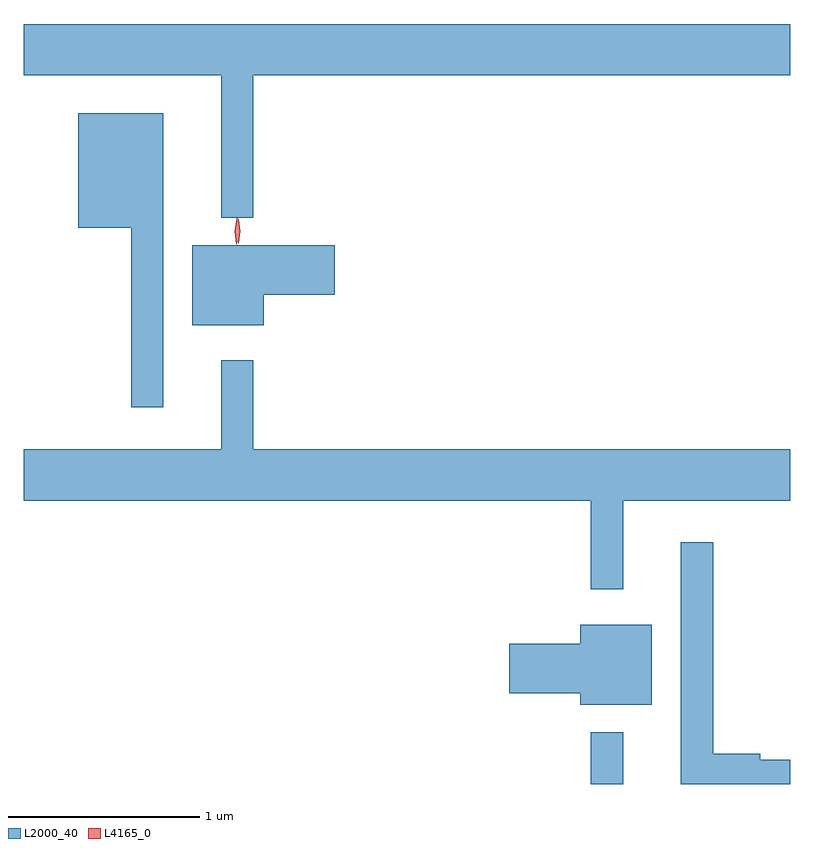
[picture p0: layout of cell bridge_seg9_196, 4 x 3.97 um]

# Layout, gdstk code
import gdstk
lib = gdstk.Library(unit=1e-6, precision=1e-09)
def R(c, l, rs):  # rectangles x0, y0, x1, y1
    for r in rs: c.add(gdstk.rectangle(r[:2], r[2:], *l))
def P(c, l, *ps):  # polygons
    for p in ps: c.add(gdstk.Polygon(p, *l))
L2000_40 = (2000, 40)
L4165_0 = (4165, 0)

bridge_seg9_196 = lib.new_cell('bridge_seg9_196')
R(bridge_seg9_196, L2000_40, [(1183.641,1981.457,1183.809,1981.728)])
P(bridge_seg9_196, L2000_40, [(1181.879,1985.156),(1184.681,1985.156),(1184.681,1985.424),(1180.681,1985.424),(1180.681,1985.156),(1181.711,1985.156),(1181.711,1984.413),(1181.879,1984.413)],
  [(1181.409,1984.959),(1180.966,1984.959),(1180.966,1984.361),(1181.241,1984.361),(1181.241,1983.423),(1181.409,1983.423)],
  [(1181.934,1984.011),(1182.304,1984.011),(1182.304,1984.269),(1181.561,1984.269),(1181.561,1983.851),(1181.934,1983.851)],
  [(1183.809,1982.936),(1184.681,1982.936),(1184.681,1983.204),(1181.879,1983.204),(1181.879,1983.668),(1181.711,1983.668),(1181.711,1983.204),(1180.681,1983.204),(1180.681,1982.936),(1183.641,1982.936),(1183.641,1982.473),(1183.809,1982.473)],
  [(1184.681,1981.584),(1184.524,1981.584),(1184.524,1981.614),(1184.279,1981.614),(1184.279,1982.718),(1184.111,1982.718),(1184.111,1981.457),(1184.681,1981.457)],
  [(1183.959,1982.289),(1183.586,1982.289),(1183.586,1982.189),(1183.216,1982.189),(1183.216,1981.931),(1183.586,1981.931),(1183.586,1981.871),(1183.959,1981.871)])
P(bridge_seg9_196, L4165_0, [(1181.791,1984.274),(1181.782,1984.342),(1181.793,1984.41),(1181.793,1984.41),(1181.794,1984.41),(1181.802,1984.342),(1181.792,1984.274),(1181.792,1984.274)],
  [(1181.801,1984.28),(1181.791,1984.343),(1181.8,1984.406),(1181.801,1984.407),(1181.802,1984.406),(1181.811,1984.343),(1181.802,1984.28),(1181.802,1984.28)])

lib.write_gds('bridge_seg9_196.gds')
